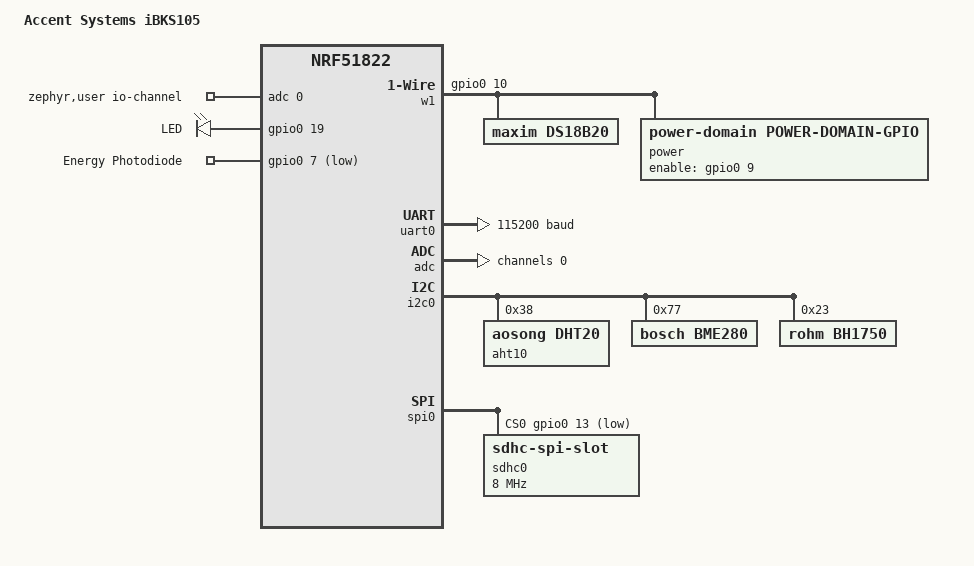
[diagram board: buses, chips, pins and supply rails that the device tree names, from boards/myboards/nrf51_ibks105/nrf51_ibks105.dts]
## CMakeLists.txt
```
# #
# # Copyright (c) 2023 Nordic Semiconductor ASA
# #
# # SPDX-License-Identifier: Apache-2.0
# 
# This CMake file is picked by the Zephyr build system because it is defined
# as the module CMake entry point (see zephyr/module.yml).


set(BOARD_ROOT ${CMAKE_CURRENT_SOURCE_DIR})

# This is needed so that custom driver classes using system calls are taken into
# account
list(APPEND ZEPHYR_EXTRA_MODULES
  ${CMAKE_CURRENT_SOURCE_DIR}
)
# zephyr_syscall_include_directories(include)
zephyr_include_directories(include)

add_subdirectory(lib)
```

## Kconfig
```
# # Copyright (c) 2019-2020 Nordic Semiconductor ASA
# # SPDX-License-Identifier: Apache-2.0

# rsource "lib/Kconfig"

# source "Kconfig.zephyr"

# Copyright (c) 2021 Nordic Semiconductor ASA
# SPDX-License-Identifier: Apache-2.0
#
# This Kconfig file is picked by the Zephyr build system because it is defined
# as the module Kconfig entry point (see zephyr/module.yml). You can browse
# module options by going to Zephyr -> Modules in Kconfig.

rsource "lib/Kconfig"
```

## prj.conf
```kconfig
CONFIG_BT=y
CONFIG_BT_PERIPHERAL=y
CONFIG_BT_CENTRAL=n
CONFIG_BT_DEVICE_NAME="BTHome sensor"
CONFIG_SENSOR=y
CONFIG_TEMP_NRF5=y
CONFIG_PRINTK=y

# Size optimizations
CONFIG_SIZE_OPTIMIZATIONS=y
CONFIG_ISR_STACK_SIZE=1024
```

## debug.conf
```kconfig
# Copyright (c) 2021 Nordic Semiconductor ASA
# SPDX-License-Identifier: Apache-2.0
#
# This is a Kconfig fragment which can be used to enable debug-related options
# in the application. See the README for more details.

# compiler
# CONFIG_DEBUG_OPTIMIZATIONS=y
# CONFIG_DEBUG_THREAD_INFO=y 
# CONFIG_SYS_HEAP_VALIDATE=y
# CONFIG_EXCEPTION_STACK_TRACE=y
# CONFIG_DEBUG_INFO=y
# CONFIG_ASSERT=y
# CONFIG_SYS_HEAP_VALIDATE=y
# CONFIG_TEST_RANDOM_GENERATOR=y
# CONFIG_STACK_CANARIES=y

# logging
CONFIG_LOG=y
CONFIG_USE_SEGGER_RTT=y
CONFIG_LOG_BACKEND_RTT=y
```

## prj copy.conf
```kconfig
#
# Copyright (c) 2023 Nordic Semiconductor ASA
#
# SPDX-License-Identifier: Apache-2.0
#
# CONFIG_BT=y
# CONFIG_BT_PERIPHERAL=y
# CONFIG_BT_CENTRAL=n
# CONFIG_BT_DEVICE_NAME="BTHome template"

CONFIG_BT=y
CONFIG_BT_SMP=y
CONFIG_BT_PERIPHERAL=y
CONFIG_BT_DIS=y
CONFIG_BT_DIS_PNP=n
CONFIG_BT_BAS=y
CONFIG_BT_HRS=y
CONFIG_BT_DEVICE_NAME="Zephyr Heartrate Sensor"
CONFIG_BT_DEVICE_APPEARANCE=833
CONFIG_DEBUG_OPTIMIZATIONS=y

# Drivers and peripherals
CONFIG_I2C=n
CONFIG_WATCHDOG=n
CONFIG_PINCTRL=n
CONFIG_SPI=n
CONFIG_GPIO=n
CONFIG_SERIAL=y

# Power management
CONFIG_PM=n

# Interrupts
CONFIG_DYNAMIC_INTERRUPTS=n
CONFIG_IRQ_OFFLOAD=n

# Memory protection
CONFIG_THREAD_STACK_INFO=n
CONFIG_THREAD_CUSTOM_DATA=n
CONFIG_FPU=n

# Boot
CONFIG_BOOT_BANNER=n
CONFIG_BOOT_DELAY=0

# Console
CONFIG_CONSOLE=y
CONFIG_UART_CONSOLE=y
CONFIG_STDOUT_CONSOLE=n
CONFIG_PRINTK=y
CONFIG_EARLY_CONSOLE=n

# Build
CONFIG_SIZE_OPTIMIZATIONS=y

# ARM
CONFIG_ARM_MPU=n

# In order to correctly tune the stack sizes for the threads the following
# Configurations can enabled to print the current use:
# CONFIG_THREAD_NAME=y
# CONFIG_THREAD_ANALYZER=y
# CONFIG_THREAD_ANALYZER_AUTO=y
# CONFIG_THREAD_ANALYZER_RUN_UNLOCKED=y
# CONFIG_THREAD_ANALYZER_USE_PRINTK=y
# CONFIG_THREAD_ANALYZER_AUTO_INTERVAL=20
# CONFIG_CONSOLE=y
# CONFIG_UART_CONSOLE=y
# CONFIG_SERIAL=y
# CONFIG_PRINTK=y

# Example output of thread analyzer
# BT RX               : STACK: unused 576 usage 448 / 1024 (43 %); CPU: 0 %
# BT RX pri           : STACK: unused 260 usage 188 / 448 (41 %); CPU: 0 %
# BT ECC              : STACK: unused 256 usage 888 / 1144 (77 %); CPU: 1 %
# BT TX               : STACK: unused 296 usage 344 / 640 (53 %); CPU: 0 %
# thread_analyzer     : STACK: unused 128 usage 384 / 512 (75 %); CPU: 1 %
# sysworkq            : STACK: unused 856 usage 168 / 1024 (16 %); CPU: 0 %
# logging             : STACK: unused 232 usage 536 / 768 (69 %); CPU: 0 %
# idle 00             : STACK: unused 208 usage 48 / 256 (18 %); CPU: 97 %
# main                : STACK: unused 576 usage 448 / 1024 (43 %); CPU: 0 %
CONFIG_BT_RX_STACK_SIZE=1024
CONFIG_BT_CTLR_RX_PRIO_STACK_SIZE=448
CONFIG_BT_HCI_TX_STACK_SIZE_WITH_PROMPT=y
CONFIG_BT_HCI_TX_STACK_SIZE=640
CONFIG_SYSTEM_WORKQUEUE_STACK_SIZE=512
CONFIG_IDLE_STACK_SIZE=128
CONFIG_MAIN_STACK_SIZE=640
CONFIG_ISR_STACK_SIZE=1024

# Disable features not needed
CONFIG_TIMESLICING=n
CONFIG_COMMON_LIBC_MALLOC=n
CONFIG_LOG=n
CONFIG_ASSERT=n

# Disable Bluetooth features not needed
# CONFIG_BT_DEBUG_NONE=y
CONFIG_BT_ASSERT=n
CONFIG_BT_DATA_LEN_UPDATE=n
CONFIG_BT_PHY_UPDATE=n
CONFIG_BT_GATT_CACHING=n
CONFIG_BT_GATT_SERVICE_CHANGED=n
CONFIG_BT_GAP_PERIPHERAL_PREF_PARAMS=n
CONFIG_BT_SETTINGS_CCC_LAZY_LOADING=y
CONFIG_BT_HCI_VS_EXT=n

# Disable Bluetooth controller features not needed
CONFIG_BT_CTLR_PRIVACY=n
CONFIG_BT_CTLR_PHY_2M=n

# Reduce Bluetooth buffers
CONFIG_BT_BUF_EVT_DISCARDABLE_COUNT=1
CONFIG_BT_BUF_EVT_DISCARDABLE_SIZE=45
CONFIG_BT_BUF_ACL_RX_COUNT=2
CONFIG_BT_BUF_EVT_RX_COUNT=2

CONFIG_BT_CONN_TX_MAX=2
CONFIG_BT_L2CAP_TX_BUF_COUNT=2
CONFIG_BT_CTLR_RX_BUFFERS=1
CONFIG_BT_BUF_ACL_TX_COUNT=3
CONFIG_BT_BUF_ACL_TX_SIZE=27
```

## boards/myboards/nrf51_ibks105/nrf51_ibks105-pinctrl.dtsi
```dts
/*
 * Copyright (c) 2022 Nordic Semiconductor
 * SPDX-License-Identifier: Apache-2.0
 */

&pinctrl {
	uart0_default: uart0_default {
		group1 {
			psels = <NRF_PSEL(UART_TX, 0, 9)>,
					<NRF_PSEL(UART_RX, 0, 10)>;
		};
	};

	uart0_sleep: uart0_sleep {
		group1 {
			psels = <NRF_PSEL(UART_TX, 0, 9)>,
					<NRF_PSEL(UART_RX, 0, 10)>;
			low-power-enable;
		};
	};

	i2c0_default: i2c0_default {
		group1 {
			psels = <NRF_PSEL(TWIM_SDA, 0, 12)>,
					<NRF_PSEL(TWIM_SCL, 0, 11)>;
		};
	};

	i2c0_sleep: i2c0_sleep {
		group1 {
			psels = <NRF_PSEL(TWIM_SDA, 0, 12)>,
					<NRF_PSEL(TWIM_SCL, 0, 11)>;
			low-power-enable;
		};
	};

	spi0_default: spi0_default {
		group1 {
			psels = <NRF_PSEL(SPIM_SCK, 0, 14)>,
			        <NRF_PSEL(SPIM_MOSI, 0, 15)>,
			        <NRF_PSEL(SPIM_MISO, 0, 16)>;
		};
	};

	spi0_sleep: spi0_sleep {
		group1 {
			psels = <NRF_PSEL(SPIM_SCK, 0, 14)>,
			        <NRF_PSEL(SPIM_MOSI, 0, 15)>,
			        <NRF_PSEL(SPIM_MISO, 0, 16)>;
			low-power-enable;
		};
	};
};
```

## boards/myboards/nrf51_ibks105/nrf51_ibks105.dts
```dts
/*
 * Copyright (c) 2017 Linaro Limited
 *
 * SPDX-License-Identifier: Apache-2.0
 */

/dts-v1/;
#include <nordic/nrf51822_qfaa.dtsi>
#include "nrf51_ibks105-pinctrl.dtsi"

/ {
	model = "Accent Systems iBKS105";
	compatible = "accent_systems,ibks105";

	chosen {
		zephyr,console = &uart0;
		zephyr,shell-uart = &uart0;
		zephyr,bt-mon-uart = &uart0;
		zephyr,bt-c2h-uart = &uart0;
		zephyr,sram = &sram0;
		zephyr,flash = &flash0;
	};

	rtt0: rtt_chan0 {
		compatible = "segger,rtt-uart";
		status = "okay";
	};

	zephyr,user {
		io-channels = <&adc 0>;
	};

	aliases {
		led0 = &led0;
		watchdog0 = &wdt0;
	};

	leds {
		compatible = "gpio-leds";
		led0: led_0 {
			gpios = <&gpio0 19 0>;
			label = "LED";
		};
	};

	buttons {
		compatible = "gpio-keys";
		energy_pd: energy_pd {
			// P0.07.
			gpios = <&gpio0 7 (GPIO_PULL_UP | GPIO_ACTIVE_LOW)>;
			label = "Energy Photodiode";
		};
	};

	w1: w1 {
		compatible = "zephyr,w1-gpio";
		gpios = <&gpio0 10 (GPIO_ACTIVE_HIGH | GPIO_OPEN_DRAIN | GPIO_PULL_UP)>;
		
		ds18b20: ds18b20 {
			compatible = "maxim,ds18b20";
			family-code = <0x28>;
			resolution = <12>;
			status = "okay";
		};
		
		power {
			compatible = "power-domain,power-domain-gpio";
			enable-gpios = <&gpio0 9 (GPIO_ACTIVE_HIGH | GPIO_OPEN_DRAIN)>;
		};
	};

	aliases {
		dht0 = &aht10;
		bmp280 = &bme280;
		ds18 = &ds18b20;
		bh1750 = &bh1750;
	};
};

&gpiote {
	status = "okay";
};

&gpio0 {
	status = "okay";
	// For low-power EDGE interrupts.
	// See github.com/zephyrproject-rtos/zephyr/issues/28499.
	sense-edge-mask = <0xffffffff>;
};

&uart0 {
	current-speed = <115200>;
	// status = "disabled";
	status = "okay";
	pinctrl-0 = <&uart0_default>;
	pinctrl-1 = <&uart0_sleep>;
	pinctrl-names = "default", "sleep";
};

&adc {
	#address-cells = <1>;
	#size-cells = <0>;
	status = "ok";

	// Battery.
	channel@0 {
		reg = <0>;
		zephyr,gain = "ADC_GAIN_1_3";
		zephyr,reference = "ADC_REF_INTERNAL";
		zephyr,acquisition-time = <ADC_ACQ_TIME_DEFAULT>;
		zephyr,input-positive = <NRF_ADC_AIN7>;
		// zephyr,input-positive = <NRF_SAADC_VDD>;
		zephyr,resolution = <10>;
	};
};

&i2c0 {
	compatible = "nordic,nrf-twi";
	status = "okay";
	pinctrl-0 = <&i2c0_default>;
	pinctrl-1 = <&i2c0_sleep>;
	pinctrl-names = "default", "sleep";

	aht10: aht10@38 {
		compatible = "aosong,dht20";
		reg = <0x38>;
		#address-cells = <1>;
		#size-cells = <0>;
	};

	bme280: bme280@77 {
		/* 0x76 - SDO <-> GND */
		/* 0x77 - SDO <-> VCC */
		compatible = "bosch,bme280";
		reg = <0x77>;
	};

	bh1750: bh1750@5c {
		/* 0x23 - ADDR <-> GND/FLOATING */
		/* 0x5c - ADDR <-> VCC */
		compatible = "rohm,bh1750";
		reg = <0x23>;
	};
};

sd_spi: &spi0 {
	compatible = "nordic,nrf-spi";
	status = "okay";
	pinctrl-0 = <&spi0_default>;
	pinctrl-1 = <&spi0_sleep>;
	pinctrl-names = "default", "sleep";
	cs-gpios = <&gpio0 13 GPIO_ACTIVE_LOW>;

	sdhc0: sdhc@0 {
		compatible = "zephyr,sdhc-spi-slot";
		reg = <0>;
		status = "okay";
		spi-max-frequency = <8000000>;
		mmc {
			compatible = "zephyr,sdmmc-disk";
			status = "okay";
		};
	};
};
```

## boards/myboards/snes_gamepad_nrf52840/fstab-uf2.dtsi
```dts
&flash0 {
	partitions {
		compatible = "fixed-partitions";
		#address-cells = <1>;
		#size-cells = <1>;

		/* To enable flashing with UF2 bootloader, we
		 * must reserve a partition for SoftDevice.
		 * See https://learn.adafruit.com/introducing-the-adafruit-nrf52840-feather?view=all#hathach-memory-map
		 */
		reserved_partition_0: partition@0 {
			label = "SoftDevice";
			reg = <0x000000000 DT_SIZE_K(152)>;
		};
		slot0_partition: partition@26000 {
			label = "Application";
			reg = <0x00026000 DT_SIZE_K(796)>;
		};

		/*
		 * The flash starting at 0x000ed000 and ending at
		 * 0x000f4000 is reserved for use by the application.
		 */
		storage_partition: partition@ed000 {
			label = "storage";
			reg = <0x0000ed000 DT_SIZE_K(28)>;
		};

		boot_partition: partition@f4000 {
			label = "UF2";
			reg = <0x000f4000 DT_SIZE_K(48)>;
		};
	};
};
```

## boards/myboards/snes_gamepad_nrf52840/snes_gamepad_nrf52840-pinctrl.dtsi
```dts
/*
 * Copyright (c) 2022 Nordic Semiconductor
 * SPDX-License-Identifier: Apache-2.0
 */

&pinctrl {
	pwm0_default: pwm0_default {
		group1 {
			psels = <NRF_PSEL(PWM_OUT0, 1, 9)>,
			        <NRF_PSEL(PWM_OUT1, 0, 8)>,
			        <NRF_PSEL(PWM_OUT2, 0, 6)>;
			nordic,invert;
		};
	};

	pwm0_sleep: pwm0_sleep {
		group1 {
			psels = <NRF_PSEL(PWM_OUT0, 1, 9)>,
			        <NRF_PSEL(PWM_OUT1, 0, 8)>,
			        <NRF_PSEL(PWM_OUT2, 0, 6)>;
			low-power-enable;
		};
	};

	uart0_default: uart0_default {
		group1 {
			psels = <NRF_PSEL(UART_TX, 0, 10)>,
					<NRF_PSEL(UART_RX, 0, 9)>;
		};
	};

	uart0_sleep: uart0_sleep {
		group1 {
			psels = <NRF_PSEL(UART_TX, 0, 10)>,
					<NRF_PSEL(UART_RX, 0, 9)>;
			low-power-enable;
		};
	};
};
```

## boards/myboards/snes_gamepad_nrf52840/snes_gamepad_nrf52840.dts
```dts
/*
 * Copyright (c) 2022 Nikola Trifunovic
 * Copyright (c) 2018 Nordic Semiconductor ASA
 * Copyright (c) 2017 Linaro Limited
 *
 * SPDX-License-Identifier: Apache-2.0
 */

/dts-v1/;
#include <nordic/nrf52840_qiaa.dtsi>
#include "snes_gamepad_nrf52840-pinctrl.dtsi"
#include <zephyr/dt-bindings/input/input-event-codes.h>

/ {
	model = "SNES Gamepad nRF52840";
	compatible = "snes_gamepad_nrf52840";

	chosen {
		zephyr,console = &uart0;
		zephyr,shell-uart = &uart0;
		zephyr,uart-mcumgr = &uart0;
		zephyr,bt-mon-uart = &uart0;
		zephyr,bt-c2h-uart = &uart0;
		zephyr,sram = &sram0;
		zephyr,flash = &flash0;
		zephyr,code-partition = &slot0_partition;
		zephyr,ieee802154 = &ieee802154;
	};

	rtt0: rtt_chan0 {
		compatible = "segger,rtt-uart";
		status = "okay";
	};

	leds {
		compatible = "gpio-leds";
		led0_red: led_0 {
			gpios = <&gpio1 9 GPIO_ACTIVE_LOW>;
			label = "Red LED 0";
		};
		led0_green: led_1 {
			gpios = <&gpio0 8 GPIO_ACTIVE_LOW>;
			label = "Green LED 0";
		};
		led0_blue: led_2 {
			gpios = <&gpio0 6 GPIO_ACTIVE_LOW>;
			label = "Blue LED 0";
		};
	};

	pwmleds {
		compatible = "pwm-leds";
		red_pwm_led: pwm_led_0 {
			pwms = <&pwm0 0 PWM_MSEC(20) PWM_POLARITY_INVERTED>;
		};
		green_pwm_led: pwm_led_1 {
			pwms = <&pwm0 1 PWM_MSEC(20) PWM_POLARITY_INVERTED>;
		};
		blue_pwm_led: pwm_led_2 {
			pwms = <&pwm0 2 PWM_MSEC(20) PWM_POLARITY_INVERTED>;
		};
	};

	buttons {
		compatible = "gpio-keys";
		a_button: button_a {
			gpios = <&gpio0 2 (GPIO_PULL_UP | GPIO_ACTIVE_LOW)>;
			label = "A button";
			zephyr,code = <INPUT_KEY_A>;
		};
		b_button: button_b {
			gpios = <&gpio0 4 (GPIO_PULL_UP | GPIO_ACTIVE_LOW)>;
			label = "B button";
			zephyr,code = <INPUT_KEY_B>;
		};
		x_button: button_x {
			gpios = <&gpio1 15 (GPIO_PULL_UP | GPIO_ACTIVE_LOW)>;
			label = "X button";
			zephyr,code = <INPUT_KEY_X>;
		};
		y_button: button_y {
			gpios = <&gpio0 26 (GPIO_PULL_UP | GPIO_ACTIVE_LOW)>;
			label = "Y button";
			zephyr,code = <INPUT_KEY_Y>;
		};
		left_button: button_left {
			gpios = <&gpio0 24 (GPIO_PULL_UP | GPIO_ACTIVE_LOW)>;
			label = "Left button";
			zephyr,code = <INPUT_KEY_LEFT>;
		};
		right_button: button_right {
			gpios = <&gpio0 22 (GPIO_PULL_UP | GPIO_ACTIVE_LOW)>;
			label = "Right button";
			zephyr,code = <INPUT_KEY_RIGHT>;
		};
		up_button: button_up {
			gpios = <&gpio1 0 (GPIO_PULL_UP | GPIO_ACTIVE_LOW)>;
			label = "Up button";
			zephyr,code = <INPUT_KEY_UP>;
		};
		down_button: button_down {
			gpios = <&gpio0 20 (GPIO_PULL_UP | GPIO_ACTIVE_LOW)>;
			label = "Down button";
			zephyr,code = <INPUT_KEY_DOWN>;
		};
		start_button: button_start {
			gpios = <&gpio0 13 (GPIO_PULL_UP | GPIO_ACTIVE_LOW)>;
			label = "Start button";
			zephyr,code = <INPUT_KEY_0>;
		};
		select_button: button_select {
			gpios = <&gpio0 12 (GPIO_PULL_UP | GPIO_ACTIVE_LOW)>;
			label = "Select button";
			zephyr,code = <INPUT_KEY_1>;
		};
		lt_button: button_lt {
			gpios = <&gpio0 15 (GPIO_PULL_UP | GPIO_ACTIVE_LOW)>;
			label = "Left-trigger button";
			zephyr,code = <INPUT_KEY_2>;
		};
		rt_button: button_rt {
			gpios = <&gpio1 13 (GPIO_PULL_UP | GPIO_ACTIVE_LOW)>;
			label = "Right-trigger button";
			zephyr,code = <INPUT_KEY_3>;
		};
	};

	vbatt {
		compatible = "voltage-divider";
		io-channels = <&adc 7>;
		output-ohms = <10000000>;
		full-ohms = <(3900000 + 10000000)>;
	};

	/* I = (V / R) * 400 */
	icharge {
		compatible = "voltage-divider";
		io-channels = <&adc 5>;
		output-ohms = <1800>;
		full-ohms = <1800>;
		power-gpios = <&gpio0 9 (GPIO_PULL_UP | GPIO_ACTIVE_LOW)>;
	};

	/* These aliases are provided for compatibility with samples */
	aliases {

		sw0 = &start_button;
		led0 = &led0_red;
		led1 = &led0_green;
		led2 = &led0_blue;

		led0-red   = &led0_red;
		led0-green = &led0_green;
		led0-blue  = &led0_blue;

		pwm-led0 = &red_pwm_led;
		pwm-led1 = &green_pwm_led;
		pwm-led2 = &blue_pwm_led;

		red-pwm-led = &red_pwm_led;
		green-pwm-led = &green_pwm_led;
		blue-pwm-led = &blue_pwm_led;

		watchdog0 = &wdt0;
	};
};

&gpiote {
	status = "okay";
};

&uicr {
	nfct-pins-as-gpios;
	gpio-as-nreset;
};

&gpio0 {
	status = "okay";
	// https://devzone.nordicsemi.com/f/nordic-q-a/88382/how-to-use-sense-edge-mask
	sense-edge-mask = <0xffffffff>;
};

&gpio1 {
	status = "okay";
	sense-edge-mask = <0xffffffff>;
};

&adc {
	status = "okay";
};

&uart0 {
	compatible = "nordic,nrf-uarte";
	status = "okay";
	current-speed = <115200>;
	pinctrl-0 = <&uart0_default>;
	pinctrl-1 = <&uart0_sleep>;
	pinctrl-names = "default", "sleep";
};

&pwm0 {
	status = "okay";
	pinctrl-0 = <&pwm0_default>;
	pinctrl-1 = <&pwm0_sleep>;
	pinctrl-names = "default", "sleep";
};
&ieee802154 {
	status = "okay";
};

/* Include flash partition table.
 * Two partition tables are available:
 * fstab-stock        -compatible with Nordic nRF5 bootloader, default
 * fstab-debugger    -to use an external debugger, w/o the nRF5 bootloader
 */
#include "fstab-stock.dtsi"
// #include "fstab-uf2.dtsi"

zephyr_udc0: &usbd {
	compatible = "nordic,nrf-usbd";
	status = "okay";

	cdc_acm_uart0: cdc_acm_uart0 {
		compatible = "zephyr,cdc-acm-uart";
	};
};
```

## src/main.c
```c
#include <zephyr/bluetooth/bluetooth.h>
#include <zephyr/bluetooth/uuid.h>
#include <zephyr/drivers/sensor.h>

/* Get a handle to the temperature sensor device */
const struct device *temp_sensor = DEVICE_DT_GET_ANY(nordic_nrf_temp);

#define SERVICE_DATA_LEN 9
#define SERVICE_UUID 0xfcd2 /* BTHome service UUID */
#define IDX_TEMPL 4			/* Index of lo byte of temp in service data*/
#define IDX_TEMPH 5			/* Index of hi byte of temp in service data*/

#define ADV_PARAM                                                        \
	BT_LE_ADV_PARAM(BT_LE_ADV_OPT_USE_IDENTITY, BT_GAP_ADV_SLOW_INT_MIN, \
					BT_GAP_ADV_SLOW_INT_MAX, NULL)

static uint8_t service_data[SERVICE_DATA_LEN] = {
	BT_UUID_16_ENCODE(SERVICE_UUID),
	0x40,
	0x02, /* Temperature */
	0xc4, /* Low byte */
	0x00, /* High byte */
	0x03, /* Humidity */
	0xbf, /* 50.55%  low byte*/
	0x13, /* 50.55%  high byte*/
};

static struct bt_data ad[] = {
	BT_DATA_BYTES(BT_DATA_FLAGS, BT_LE_AD_GENERAL | BT_LE_AD_NO_BREDR),
	BT_DATA(BT_DATA_NAME_COMPLETE, CONFIG_BT_DEVICE_NAME, sizeof(CONFIG_BT_DEVICE_NAME) - 1),
	BT_DATA(BT_DATA_SVC_DATA16, service_data, ARRAY_SIZE(service_data))};

static int read_temperature_internal(const struct device *temp_dev)
{
	struct sensor_value temp_val;
	int err;

	/* Fetch temperature data from the sensor */
	err = sensor_sample_fetch(temp_sensor);
	if (err)
	{
		printk("Failed to fetch temperature sample (%d)\n", err);
	}

	/* Get the temperature value */
	err = sensor_channel_get(temp_sensor, SENSOR_CHAN_DIE_TEMP, &temp_val);
	if (err)
	{
		printk("Failed to get temperature channel value (%d)\n", err);
	}

	/* Print the temperature in Celsius */
	printk("Temperature: %.2f°C\n", sensor_value_to_double(&temp_val));

	return temp_val.val1 * 100 + temp_val.val2 / 10000;
}

static void bt_ready(int err)
{
	if (err)
	{
		printk("Bluetooth init failed (err %d)\n", err);
		return;
	}

	printk("Bluetooth initialized\n");

	/* Start advertising */
	err = bt_le_adv_start(ADV_PARAM, ad, ARRAY_SIZE(ad), NULL, 0);
	if (err)
	{
		printk("Advertising failed to start (err %d)\n", err);
		return;
	}
}

int main(void)
{
	int err;
	int temp = 0;

	printk("Starting BTHome sensor template\n");

	/* Initialize the Bluetooth Subsystem */
	err = bt_enable(bt_ready);
	if (err)
	{
		printk("Bluetooth init failed (err %d)\n", err);
		return 0;
	}

	for (;;)
	{
		/* Simulate temperature from 0C to 25C */
		temp = read_temperature_internal(temp_sensor);
		service_data[IDX_TEMPH] = (temp) >> 8;
		service_data[IDX_TEMPL] = (temp) & 0xff;

		err = bt_le_adv_update_data(ad, ARRAY_SIZE(ad), NULL, 0);

		if (err)
		{
			printk("Failed to update advertising data (err %d)\n", err);
		}

		k_sleep(K_MSEC(BT_GAP_ADV_SLOW_INT_MIN));
	}
	return 0;
}
```

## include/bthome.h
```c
#ifndef __BTHOME_H__
#define __BTHOME_H__

#include <stdlib.h>
#include <zephyr/bluetooth/bluetooth.h>
#include <zephyr/bluetooth/uuid.h>
#include <zephyr/kernel.h>

#define BLE_ADVERT_MAX_LEN 31
#define MEASUREMENT_MAX_LEN                                                    \
  23 // 23=31(BLE_ADVERT_MAX_LEN)-3(FLAG)-1(SERVICE_DATA)-2(UUID)-1(ENCRYPT)-1(serviceData
     // length bit)
#define BIND_KEY_LEN 16
#define NONCE_LEN 13
#define MIC_LEN 4

#define BTHOME_GAP_ADV_SLOW_INT_MIN 0x3e80 /* 10 s      */
#define BTHOME_GAP_ADV_SLOW_INT_MAX 0x4000 /* 10.24 s    */

#define ADV_PARAM                                                              \
  BT_LE_ADV_PARAM(BT_LE_ADV_OPT_USE_IDENTITY, BT_GAP_ADV_SLOW_INT_MIN,         \
                  BT_GAP_ADV_SLOW_INT_MAX, NULL)

#define ADV_PARAM_BTHOME(min, max)                                             \
  BT_LE_ADV_PARAM(BT_LE_ADV_OPT_USE_IDENTITY, min, max, NULL)

#define FLAG 0x020106
#define FLAG1 0x02
#define FLAG2 0x01
#define FLAG3 0x06
#define BTHOME_UUID 0xFCD2
#define BTHOME_UUID1 0xD2
#define BTHOME_UUID2 0xFC
#define BTHOME_SERVICE_DATA 0x16

#define BTHOME_NO_ENCRYPT 0x40
#define BTHOME_NO_ENCRYPT_TRIGGER_BASE 0x44
#define BTHOME_ENCRYPT 0x41
#define BTHOME_ENCRYPT_TRIGGER_BASE 0x45

#define SHORT_NAME 0x08
#define COMPLETE_NAME 0x09

#define ID_PACKET 0x00
#define ID_BATTERY 0x01
#define ID_CO2 0x12
#define ID_COUNT 0x09
#define ID_COUNT2 0x3D
#define ID_COUNT4 0x3E
#define ID_CURRENT 0x43
#define ID_DEWPOINT 0x08
#define ID_DISTANCE 0x40
#define ID_DISTANCEM 0x41
#define ID_DURATION 0x42
#define ID_ENERGY 0x0A
#define ID_ENERGY4 0x4D
#define ID_GAS 0x4B
#define ID_GAS4 0x4C
#define ID_HUMIDITY 0x2E
#define ID_HUMIDITY_PRECISE 0x03
#define ID_ILLUMINANCE 0x05
#define ID_MASS 0x06
#define ID_MASSLB 0x07
#define ID_MOISTURE 0x2F
#define ID_MOISTURE_PRECISE 0x14
#define ID_PM25 0x0D
#define ID_PM10 0x0E
#define ID_POWER 0x0B
#define ID_PRESSURE 0x04
#define ID_ROTATION 0x3F
#define ID_SPD 0x44
#define ID_TEMPERATURE_PRECISE 0x02
#define ID_TEMPERATURE 0x45
#define ID_TVOC 0x13
#define ID_VOLTAGE 0x0C
#define ID_VOLTAGE1 0x4A
#define ID_VOLUME 0x4E
#define ID_VOLUME1 0x47
#define ID_VOLUME2 0x48
#define ID_VOLUMEFR 0x49
#define ID_UV 0x46
#define ID_WATER 0x4F

#define STATE_BATTERY_LOW 0x15
#define STATE_BATTERY_CHARGING 0x16
#define STATE_CO 0x17
#define STATE_COLD 0x18
#define STATE_CONNECTIVITY 0x19
#define STATE_DOOR 0x1A
#define STATE_GARAGE_DOOR 0x1B
#define STATE_GAS_DETECTED 0x1C
#define STATE_GENERIC_BOOLEAN 0x0F
#define STATE_HEAT 0x1D
#define STATE_LIGHT 0x1E
#define STATE_LOCK 0x1F
#define STATE_MOISTURE 0x20
#define STATE_MOTION 0x21
#define STATE_MOVING 0x22
#define STATE_OCCUPANCY 0x23
#define STATE_OPENING 0x11
#define STATE_PLUG 0x24
#define STATE_POWER_ON 0x10
#define STATE_PRESENCE 0x25
#define STATE_PROBLEM 0x26
#define STATE_RUNNING 0x27
#define STATE_SAFETY 0x28
#define STATE_SMOKE 0x29
#define STATE_SOUND 0x2A
#define STATE_TAMPER 0x2B
#define STATE_VIBRATION 0x2C
#define STATE_WINDOW 0x2D

#define STATE_ON 0x01
#define STATE_OFF 0x00

#define EVENT_BUTTON 0x3A
#define EVENT_BUTTON_NONE 0x00
#define EVENT_BUTTON_PRESS 0x01
#define EVENT_BUTTON_DOUBLE_PRESS 0x02
#define EVENT_BUTTON_TRIPLE_PRESS 0x03
#define EVENT_BUTTON_LONG_PRESS 0x04
#define EVENT_BUTTON_LONG_DOUBLE_PRESS 0x05
#define EVENT_BUTTTON_LONG_TRIPLE_PRESS 0x06

#define EVENT_DIMMER 0x3C
#define EVENT_DIMMER_NONE 0x00
#define EVENT_DIMMER_LEFT 0x01
#define EVENT_DIMMER_RIGHT 0x02

#define INITIAL_CAPACITY 2

typedef struct __packed {
  uint8_t id;
  uint8_t size;
  int value;
} bthome_data_t;

typedef struct {
  bthome_data_t *entries;
  int size;
  int capacity;
} bthome_data_array_t;

void bthome_init(bthome_data_array_t *arr);
void bthome_insert_float(bthome_data_array_t *arr, uint8_t id, float value);
void bthome_insert_int(bthome_data_array_t *arr, uint8_t id, int value);
void bthome_insert_button_event(bthome_data_array_t *arr, uint8_t event);
void bthome_insert_dimmer_event(bthome_data_array_t *arr, uint8_t direction,
                                uint8_t steps);
void bthome_remove(bthome_data_array_t *arr, uint8_t id);
void bthome_free(bthome_data_array_t *arr);
void bthome_debug_print(bthome_data_array_t *arr);
void bthome_start_advertise(bthome_data_array_t *arr, uint8_t bthome_mode);
void bthome_update_advertise(bthome_data_array_t *arr);

#endif // __BTHOME_H__
```

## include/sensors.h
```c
#ifndef __SENSORS_H__
#define __SENSORS_H__

#include <zephyr/drivers/adc.h>
#include <zephyr/drivers/gpio.h>
#include <zephyr/drivers/sensor.h>
#include <zephyr/kernel.h>

/* BATTERY */
typedef struct {
  // High (h) and low (p) voltage (v) and % (p) points.
  float vh, vl, ph, pl;
} batt_disch_linear_section_t;

typedef struct {
  int16_t raw;
  int32_t millivolts;
  float voltage;
} adc_read_t;

struct batt_t {
  adc_read_t adc_read;
  float percentage;
};

int sensors_init_battery();
void sensors_read_battery(struct batt_t *out);
/* BATTERY */

/* ENERGY */
typedef void (*energy_pulse_callback_t)(void);

int sensors_init_energy(energy_pulse_callback_t cb);
/* ENERGY */

/* TEMPERATURE INTERNAL */
int sensors_read_temperature_internal(struct sensor_value *value);
/* TEMPERATURE INTERNAL */

/* TEMPERATURE DS18B20 */
int sensors_read_temperature_ds18b20(struct sensor_value *value);
/* TEMPERATURE DS18B20 */

/* TEMPERATURE/HUMIDITY AHT10 */
int sensors_read_temperature_humidity_aht10(struct sensor_value *temperature,
                                            struct sensor_value *humidity);
/* TEMPERATURE/HUMIDITY AHT10 */

/* TEMPERATURE/PRESSURE BMP280 */
int sensors_read_temperature_pressure_bmp280(struct sensor_value *temperature,
                                            struct sensor_value *pressure);
/* TEMPERATURE/PRESSURE BMP280 */

/* LIGHT BH1750 */
int sensors_read_light_bh1750(struct sensor_value *light);
/* LIGHT BH1750 */

#endif // __SENSORS_H__
```
